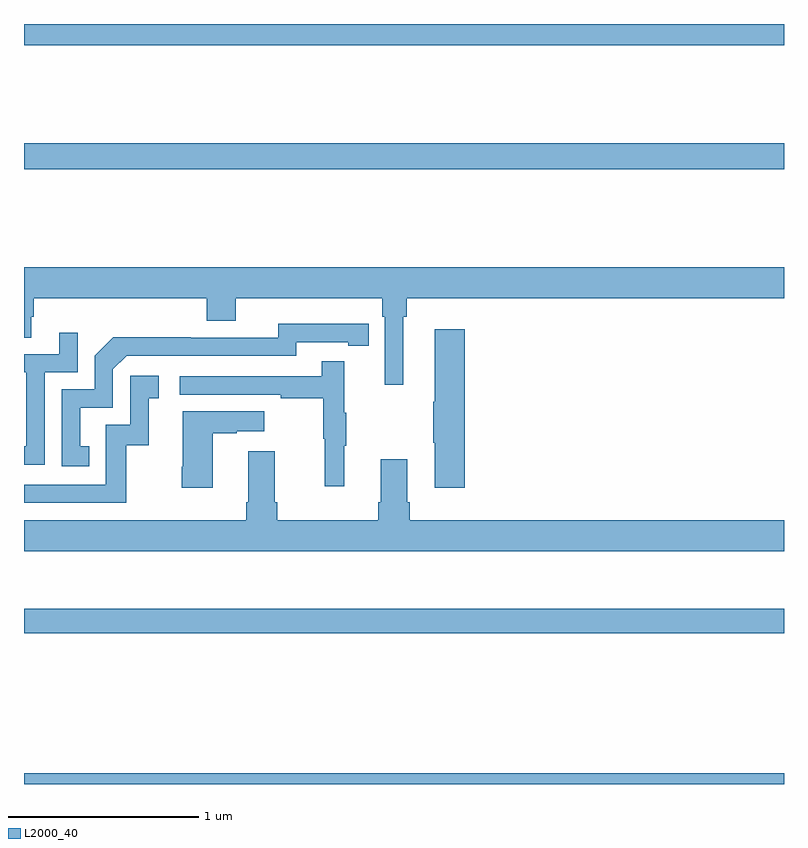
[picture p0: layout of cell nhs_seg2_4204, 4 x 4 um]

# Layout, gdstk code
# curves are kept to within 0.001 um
import gdstk
lib = gdstk.Library(unit=1e-6, precision=1e-09)
def R(c, l, rs):  # rectangles x0, y0, x1, y1
    for r in rs: c.add(gdstk.rectangle(r[:2], r[2:], *l))
def P(c, l, *ps):  # polygons
    for p in ps: c.add(gdstk.Polygon(p, *l))
L2000_40 = (2000, 40)

nhs_seg2_4204 = lib.new_cell('nhs_seg2_4204')
R(nhs_seg2_4204, L2000_40, [(339,591.8,343,591.856), (339,592.594,343,592.723), (339,595.036,343,595.172), (339,595.688,343,595.8)])
P(nhs_seg2_4204, L2000_40, [(340.996,594.26),(341.015,594.26),(341.015,594.356),(343,594.356),(343,594.52),(339,594.52),(339,594.148),(339.037,594.148),(339.037,594.258),(339.05,594.258),(339.05,594.356),(339.962,594.356),(339.962,594.239),(340.114,594.239),(340.114,594.356),(340.886,594.356),(340.886,594.26),(340.899,594.26),(340.899,593.901),(340.996,593.901)],
  [(339.344,593.577),(339.295,593.577),(339.295,593.781),(339.468,593.781),(339.468,593.982),(339.54,594.054),(340.434,594.054),(340.434,594.126),(340.706,594.126),(340.706,594.106),(340.814,594.106),(340.814,594.222),(340.338,594.223),(340.338,594.15),(339.878,594.15),(339.878,594.152),(339.47,594.152),(339.372,594.054),(339.372,593.877),(339.198,593.877),(339.198,593.472),(339.344,593.472)],
  [(341.321,594.193),(341.162,594.193),(341.162,593.813),(341.155,593.813),(341.155,593.596),(341.162,593.596),(341.162,593.358),(341.321,593.358)],
  [(339.108,593.967),(339.282,593.967),(339.282,594.175),(339.185,594.175),(339.185,594.063),(339,594.063),(339,593.967),(339.012,593.967),(339.012,593.578),(339,593.578),(339,593.481),(339.108,593.481)],
  [(340.685,593.579),(340.696,593.579),(340.696,593.753),(340.685,593.753),(340.685,594.025),(340.567,594.025),(340.567,593.946),(339.819,593.946),(339.819,593.85),(340.351,593.85),(340.351,593.83),(340.575,593.83),(340.575,593.616),(340.582,593.616),(340.582,593.367),(340.685,593.367)],
  [(339.538,593.583),(339.656,593.583),(339.656,593.829),(339.709,593.829),(339.709,593.95),(339.558,593.95),(339.558,593.691),(339.429,593.691),(339.429,593.376),(339,593.376),(339,593.28),(339.538,593.28)],
  [(339.994,593.647),(340.121,593.647),(340.121,593.657),(340.264,593.657),(340.264,593.761),(339.836,593.761),(339.836,593.47),(339.829,593.47),(339.829,593.358),(339.994,593.358)],
  [(343,593.188),(341.03,593.188),(341.03,593.284),(341.017,593.284),(341.017,593.509),(340.877,593.509),(340.877,593.284),(340.865,593.284),(340.865,593.188),(340.334,593.188),(340.334,593.284),(340.321,593.284),(340.321,593.551),(340.181,593.551),(340.181,593.284),(340.169,593.284),(340.169,593.188),(339,593.188),(339,593.024),(343,593.024)])

lib.write_gds('nhs_seg2_4204.gds')
